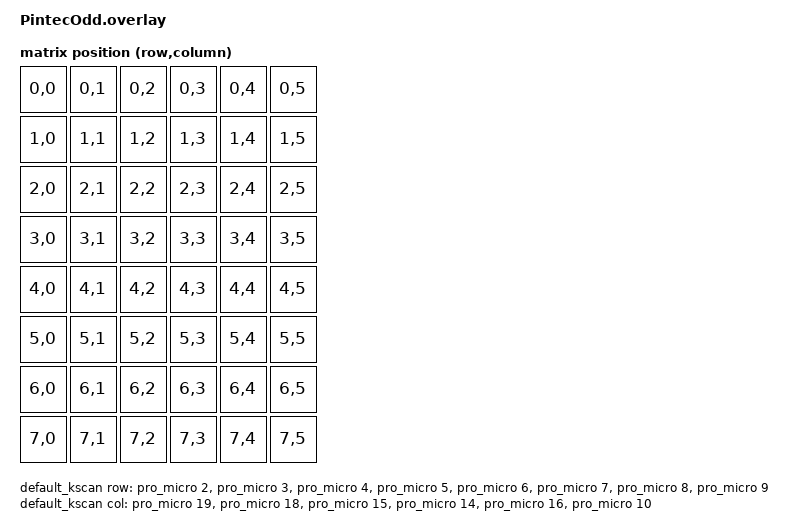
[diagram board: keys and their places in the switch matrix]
#include <dt-bindings/zmk/matrix_transform.h>

/ {
    chosen {
            zmk,kscan = &default_kscan;
            zmk,matrix_transform = &default_transform;        
    };

    default_kscan: kscan {
        compatible = "zmk,kscan-gpio-matrix";
        label = "default_kscan";
        diode-direction = "col2row";

        row-gpios = <&pro_micro 2 (GPIO_ACTIVE_HIGH | GPIO_PULL_DOWN)>,
                    <&pro_micro 3 (GPIO_ACTIVE_HIGH | GPIO_PULL_DOWN)>,
                    <&pro_micro 4 (GPIO_ACTIVE_HIGH | GPIO_PULL_DOWN)>,
                    <&pro_micro 5 (GPIO_ACTIVE_HIGH | GPIO_PULL_DOWN)>,
                    <&pro_micro 6 (GPIO_ACTIVE_HIGH | GPIO_PULL_DOWN)>,
                    <&pro_micro 7 (GPIO_ACTIVE_HIGH | GPIO_PULL_DOWN)>,
                    <&pro_micro 8 (GPIO_ACTIVE_HIGH | GPIO_PULL_DOWN)>,
                    <&pro_micro 9 (GPIO_ACTIVE_HIGH | GPIO_PULL_DOWN)>;

        col-gpios = <&pro_micro 19 GPIO_ACTIVE_HIGH>,
                    <&pro_micro 18 GPIO_ACTIVE_HIGH>,
                    <&pro_micro 15 GPIO_ACTIVE_HIGH>,
                    <&pro_micro 14 GPIO_ACTIVE_HIGH>,
                    <&pro_micro 16 GPIO_ACTIVE_HIGH>,
                    <&pro_micro 10 GPIO_ACTIVE_HIGH>;
    };

    default_transform: matrix_transform {
        compatible = "zmk,matrix-transform";
        rows = <8>;
        columns = <6>;

        map = <
            RC(0,0) RC(0,1) RC(0,2) RC(0,3) RC(0,4) RC(0,5)
            RC(1,0) RC(1,1) RC(1,2) RC(1,3) RC(1,4) RC(1,5)
            RC(2,0) RC(2,1) RC(2,2) RC(2,3) RC(2,4) RC(2,5)
            RC(3,0) RC(3,1) RC(3,2) RC(3,3) RC(3,4) RC(3,5)
            RC(4,0) RC(4,1) RC(4,2) RC(4,3) RC(4,4) RC(4,5)
            RC(5,0) RC(5,1) RC(5,2) RC(5,3) RC(5,4) RC(5,5)
            RC(6,0) RC(6,1) RC(6,2) RC(6,3) RC(6,4) RC(6,5)
            RC(7,0) RC(7,1) RC(7,2) RC(7,3) RC(7,4) RC(7,5)
            >;
    };
};

/ {
        /* setup wired gpio from actual device. */
        /*   e.g. a eccentric rotating mass (ERM) motor, or a LED */
	erm0: output_generic_0 {
		compatible = "zmk,output-generic";
		#binding-cells = <0>;
		control-gpios = <&pro_micro 21 GPIO_ACTIVE_HIGH>;
	};

        /* setup wired PWM device to control a LED */
	pwm_led0: output_pwm_0 {
		compatible = "zmk,output-pwm";
		#binding-cells = <0>;
		pwms = <&pwm0 0 PWM_MSEC(20) PWM_POLARITY_NORMAL>;
	};

        /* setup motorized fader */
        fader_motor0: fader_motor_0 {
		compatible = "zmk,output-motorized-fader";
		#binding-cells = <0>;
                
                /* define `zmk-analog-input-driver` device to track the position of fader via ADC pin */
                sensor-device = <&anin0>;
                sensor-channel = <0>;

                /* choose drv883x as the motor driver */
                motor-driver-device = <&drv883x_0>;
                motor-driver = "drv883x";
                /* alternative motor driver option */
                // motor-driver-device = <&tb6612fng_0>;
                // motor-driver = "tb6612fng";

                /* motor output channel, both drivers have 2 channel 0/1 */
                motor-channel = <0>;
	};
};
